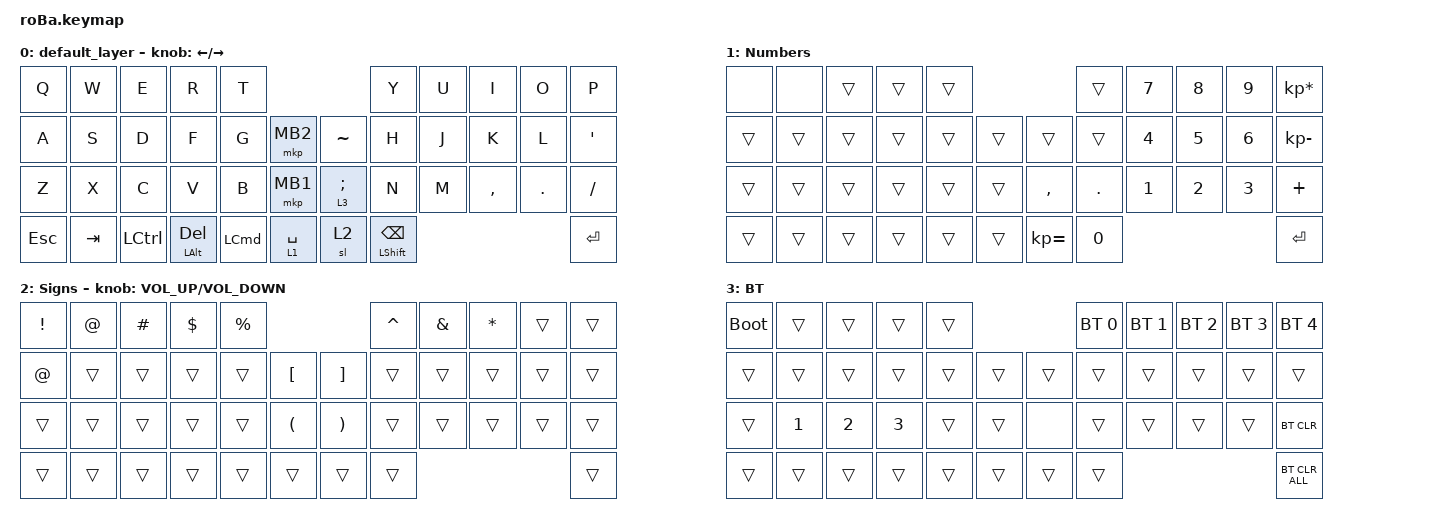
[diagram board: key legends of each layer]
#include <behaviors.dtsi>
#include <dt-bindings/zmk/bt.h>
#include <dt-bindings/zmk/keys.h>
#include <dt-bindings/zmk/pointing.h>

&mt {
    flavor = "balanced";
    quick-tap-ms = <0>;
};

&trackball {
    automouse-layer = <4>;
    scroll-layers = <5>;

    // arrows {
    //     layers = <3>;
    //     bindings =
    //         <&kp RIGHT_ARROW>,
    //         <&kp LEFT_ARROW>,
    //         <&kp UP_ARROW>,
    //         <&kp DOWN_ARROW>;
    //     tick = <10>;
    //     wait-ms = <5>;
    //     tap-ms = <5>;
    // };
};

/ {
    combos {
        compatible = "zmk,combos";

        double_quotation {
            bindings = <&kp DOUBLE_QUOTES>;
            key-positions = <20 21>;
        };

        eq {
            bindings = <&kp EQUAL>;
            key-positions = <24 25>;
        };

        hifen {
            bindings = <&kp MINUS>;
            key-positions = <7 8>;
            layers = <0>;
        };
    };

    macros {
        to_layer_0: to_layer_0 {
            compatible = "zmk,behavior-macro-one-param";
            #binding-cells = <1>;
            bindings = <&to 0 &macro_param_1to1 &kp MACRO_PLACEHOLDER>;
            label = "TO_LAYER_0";
        };
    };

    behaviors {
        lt_to_layer_0: lt_to_layer_0 {
            compatible = "zmk,behavior-hold-tap";
            label = "LAYER_TAP_TO_0";
            bindings = <&mo>, <&to_layer_0>;

            #binding-cells = <2>;
            tapping-term-ms = <200>;
        };
    };

    keymap {
        compatible = "zmk,keymap";

        default_layer {
            bindings = <
&kp Q       &kp W    &kp E             &kp R                &kp T                                          &kp Y                     &kp U  &kp I      &kp O    &kp P
&kp A       &kp S    &kp D             &kp F                &kp G             &mkp MB2         &kp TILDE   &kp H                     &kp J  &kp K      &kp L    &kp APOSTROPHE
&kp Z       &kp X    &kp C             &kp V                &kp B             &mkp MB1         &lt 3 SEMI  &kp N                     &kp M  &kp COMMA  &kp DOT  &kp SLASH
&kp ESCAPE  &kp TAB  &kp LEFT_CONTROL  &mt LEFT_ALT DELETE  &kp LEFT_COMMAND  &lt 1 SPACE      &sl 2       &mt LEFT_SHIFT BACKSPACE                             &kp ENTER
            >;

            sensor-bindings = <&inc_dec_kp LEFT_ARROW RIGHT_ARROW>;
        };

        Numbers {
            bindings = <
&none   &none   &trans  &trans  &trans                            &trans   &kp N7  &kp N8  &kp N9  &kp KP_MULTIPLY
&trans  &trans  &trans  &trans  &trans  &trans      &trans        &trans   &kp N4  &kp N5  &kp N6  &kp KP_SUBTRACT
&trans  &trans  &trans  &trans  &trans  &trans      &kp COMMA     &kp DOT  &kp N1  &kp N2  &kp N3  &kp PLUS
&trans  &trans  &trans  &trans  &trans  &trans      &kp KP_EQUAL  &kp N0                           &kp ENTER
            >;
        };

        Signs {
            bindings = <
&kp EXCLAMATION  &kp AT  &kp HASH  &kp DOLLAR  &kp PERCENT                                                   &kp CARET  &kp AMPERSAND  &kp ASTERISK  &trans  &trans
&kp AT           &trans  &trans    &trans      &trans       &kp LEFT_BRACKET          &kp RIGHT_BRACKET      &trans     &trans         &trans        &trans  &trans
&trans           &trans  &trans    &trans      &trans       &kp LEFT_PARENTHESIS      &kp RIGHT_PARENTHESIS  &trans     &trans         &trans        &trans  &trans
&trans           &trans  &trans    &trans      &trans       &trans                    &trans                 &trans                                          &trans
            >;

            sensor-bindings = <&inc_dec_kp C_VOLUME_UP C_VOLUME_DOWN>;
        };

        BT {
            bindings = <
&bootloader  &trans        &trans        &trans        &trans                      &bt BT_SEL 0  &bt BT_SEL 1  &bt BT_SEL 2  &bt BT_SEL 3  &bt BT_SEL 4
&trans       &trans        &trans        &trans        &trans  &trans      &trans  &trans        &trans        &trans        &trans        &trans
&trans       &kp NUMBER_1  &kp NUMBER_2  &kp NUMBER_3  &trans  &trans      &none   &trans        &trans        &trans        &trans        &bt BT_CLR
&trans       &trans        &trans        &trans        &trans  &trans      &trans  &trans                                                  &bt BT_CLR_ALL
            >;
        };
    };
};
